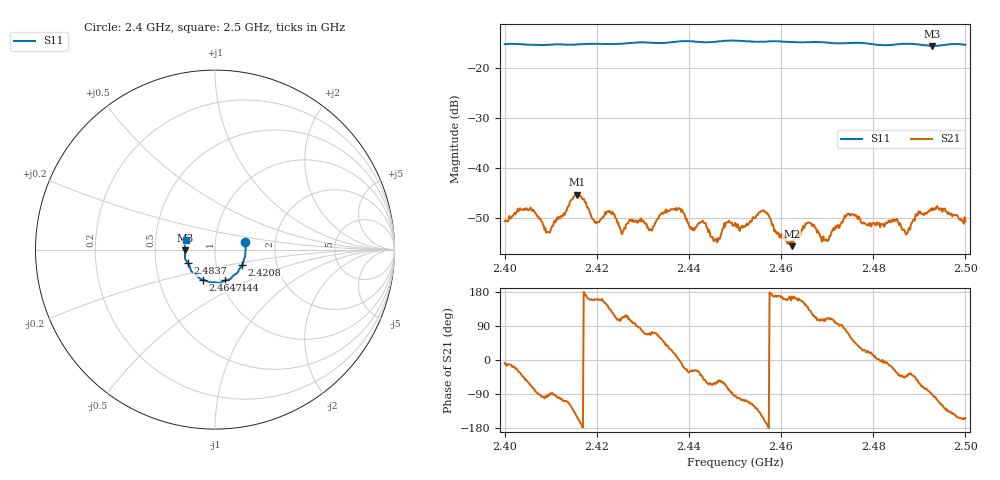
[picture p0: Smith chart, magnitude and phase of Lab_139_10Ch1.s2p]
# Hz S RI R 50
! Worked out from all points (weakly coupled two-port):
!   601 points, 2.4 GHz to 2.5 GHz, reference 50 ohm
!   highest |S21| = -45.28 dB at 2.4157 GHz (marker M1); lowest = -55.6 dB at 2.4623 GHz (marker M2)
!   lowest |S11| = -15.6 dB at 2.4928 GHz (marker M3), VSWR 1.40, Z = 35.8 - j0.342 ohm
!   |S11| at or under -10 dB: start of sweep to end of sweep
!   S12 and S22 are empty: the file has one direction only
!   S11 on the Smith chart (normalised r, x): 2.4 GHz: 1.40, +0.12; 2.4208 GHz: 1.33, -0.24; 2.444 GHz: 1.06, -0.37; 2.4647 GHz: 0.83, -0.29; 2.4837 GHz: 0.73, -0.11; 2.5 GHz: 0.72, +0.08
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2.4e9  0.1675 0.0412  0.00291 -0.000452  0 0  0 0
2.405833e9  0.1702 0.00139  0.00132 -0.00357  0 0  0 0
2.4095e9  0.1687 -0.0249  -0.000188 -0.00228  0 0  0 0
2.415667e9  0.1604 -0.0609  -0.0047 -0.00275  0 0  0 0
2.416667e9  0.159 -0.0681  -0.00508 -0.000929  0 0  0 0
2.420833e9  0.1505 -0.0872  -0.00285 0.00114  0 0  0 0
2.433333e9  0.1079 -0.1401  0.00132 0.00284  0 0  0 0
2.437667e9  0.0891 -0.161  0.00397 0.000229  0 0  0 0
2.444e9  0.058 -0.171  0.00122 -0.00222  0 0  0 0
2.445833e9  0.0443 -0.1772  0.000901 -0.00175  0 0  0 0
2.45e9  0.0245 -0.186  -0.000192 -0.00283  0 0  0 0
2.456167e9  -0.0148 -0.1821  -0.0034 -0.0017  0 0  0 0
2.462333e9  -0.0494 -0.1742  -0.00163 0.000351  0 0  0 0
2.464667e9  -0.0673 -0.167  -0.00221 0.00111  0 0  0 0
2.466667e9  -0.0798 -0.1629  -0.00144 0.00225  0 0  0 0
2.469833e9  -0.0923 -0.1537  -0.000602 0.00185  0 0  0 0
2.474333e9  -0.1179 -0.1319  0.000998 0.00328  0 0  0 0
2.483333e9  -0.1507 -0.0761  0.00294 -0.00059  0 0  0 0
2.483667e9  -0.1524 -0.0734  0.00277 -0.000748  0 0  0 0
2.4875e9  -0.1669 -0.0502  0.0018 -0.00142  0 0  0 0
2.492833e9  -0.1659 -0.00465  -0.000109 -0.00398  0 0  0 0
2.5e9  -0.1622 0.0527  -0.00265 -0.0013  0 0  0 0
